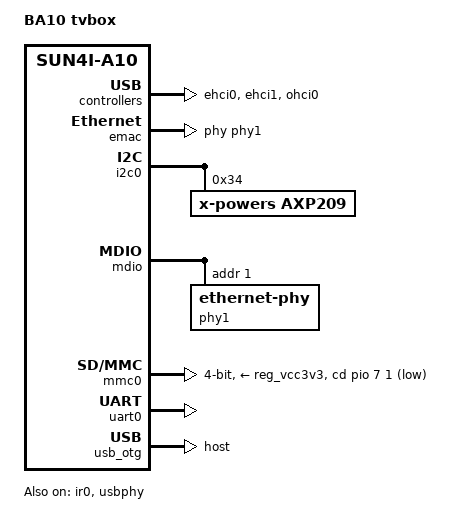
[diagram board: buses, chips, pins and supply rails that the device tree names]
/*
 * Copyright 2014 Hans de Goede <hdegoede@redhat.com>
 *
 * This file is dual-licensed: you can use it either under the terms
 * of the GPL or the X11 license, at your option. Note that this dual
 * licensing only applies to this file, and not this project as a
 * whole.
 *
 *  a) This file is free software; you can redistribute it and/or
 *     modify it under the terms of the GNU General Public License as
 *     published by the Free Software Foundation; either version 2 of the
 *     License, or (at your option) any later version.
 *
 *     This file is distributed in the hope that it will be useful,
 *     but WITHOUT ANY WARRANTY; without even the implied warranty of
 *     MERCHANTABILITY or FITNESS FOR A PARTICULAR PURPOSE.  See the
 *     GNU General Public License for more details.
 *
 * Or, alternatively,
 *
 *  b) Permission is hereby granted, free of charge, to any person
 *     obtaining a copy of this software and associated documentation
 *     files (the "Software"), to deal in the Software without
 *     restriction, including without limitation the rights to use,
 *     copy, modify, merge, publish, distribute, sublicense, and/or
 *     sell copies of the Software, and to permit persons to whom the
 *     Software is furnished to do so, subject to the following
 *     conditions:
 *
 *     The above copyright notice and this permission notice shall be
 *     included in all copies or substantial portions of the Software.
 *
 *     THE SOFTWARE IS PROVIDED "AS IS", WITHOUT WARRANTY OF ANY KIND,
 *     EXPRESS OR IMPLIED, INCLUDING BUT NOT LIMITED TO THE WARRANTIES
 *     OF MERCHANTABILITY, FITNESS FOR A PARTICULAR PURPOSE AND
 *     NONINFRINGEMENT. IN NO EVENT SHALL THE AUTHORS OR COPYRIGHT
 *     HOLDERS BE LIABLE FOR ANY CLAIM, DAMAGES OR OTHER LIABILITY,
 *     WHETHER IN AN ACTION OF CONTRACT, TORT OR OTHERWISE, ARISING
 *     FROM, OUT OF OR IN CONNECTION WITH THE SOFTWARE OR THE USE OR
 *     OTHER DEALINGS IN THE SOFTWARE.
 */

/dts-v1/;
#include "sun4i-a10.dtsi"
#include "sunxi-common-regulators.dtsi"

#include <dt-bindings/gpio/gpio.h>

/ {
	model = "BA10 tvbox";
	compatible = "allwinner,ba10-tvbox", "allwinner,sun4i-a10";

	aliases {
		serial0 = &uart0;
	};

	chosen {
		stdout-path = "serial0:115200n8";
	};
};

&ehci0 {
	status = "okay";
};

&ehci1 {
	status = "okay";
};

&emac {
	pinctrl-names = "default";
	pinctrl-0 = <&emac_pins_a>;
	phy = <&phy1>;
	status = "okay";
};

&emac_sram {
	status = "okay";
};

&i2c0 {
	pinctrl-names = "default";
	pinctrl-0 = <&i2c0_pins_a>;
	status = "okay";

	axp209: pmic@34 {
		compatible = "x-powers,axp209";
		reg = <0x34>;
		interrupts = <0>;

		interrupt-controller;
		#interrupt-cells = <1>;
	};
};

&ir0 {
	pinctrl-names = "default";
	pinctrl-0 = <&ir0_rx_pins_a>;
	status = "okay";
};

&mdio {
	status = "okay";

	phy1: ethernet-phy@1 {
		reg = <1>;
	};
};

&mmc0 {
	pinctrl-names = "default";
	pinctrl-0 = <&mmc0_pins_a>, <&mmc0_cd_pin_reference_design>;
	vmmc-supply = <&reg_vcc3v3>;
	bus-width = <4>;
	cd-gpios = <&pio 7 1 GPIO_ACTIVE_HIGH>; /* PH1 */
	cd-inverted;
	status = "okay";
};

&ohci0 {
	status = "okay";
};

&otg_sram {
	status = "okay";
};

&pio {
	usb2_vbus_pin_a: usb2_vbus_pin@0 {
		allwinner,pins = "PH12";
	};
};

&reg_usb0_vbus {
	regulator-boot-on;
	status = "okay";
};

&reg_usb1_vbus {
	status = "okay";
};

&reg_usb2_vbus {
	gpio = <&pio 7 12 GPIO_ACTIVE_HIGH>;
	status = "okay";
};

&uart0 {
	pinctrl-names = "default";
	pinctrl-0 = <&uart0_pins_a>;
	status = "okay";
};

&usb_otg {
	dr_mode = "host";
	status = "okay";
};

&usbphy {
	usb0_vbus-supply = <&reg_usb0_vbus>;
	usb1_vbus-supply = <&reg_usb1_vbus>;
	usb2_vbus-supply = <&reg_usb2_vbus>;
	status = "okay";
};
